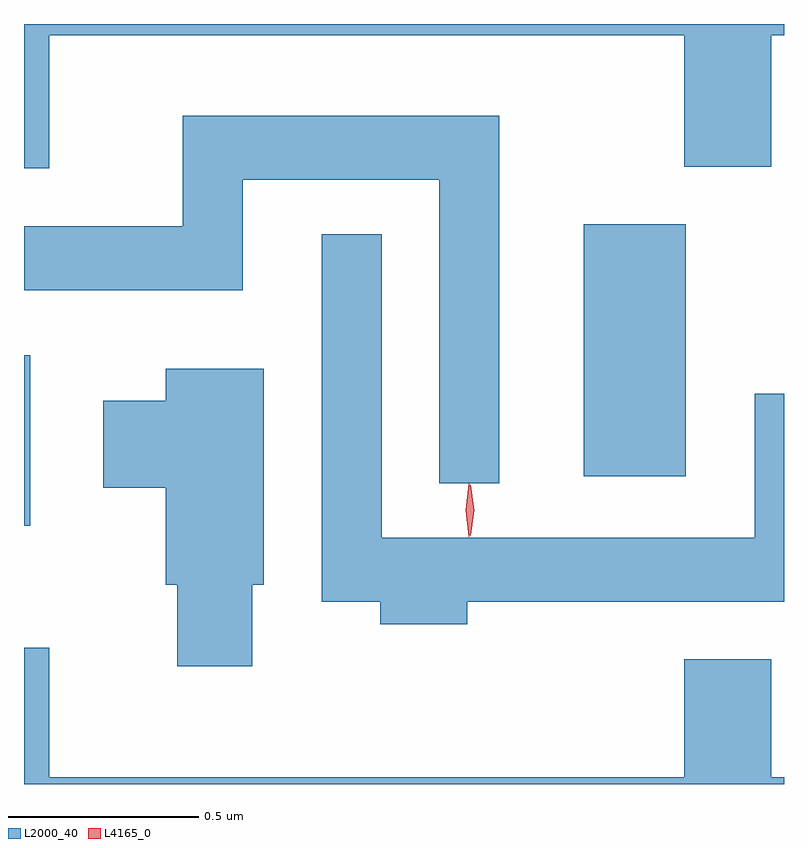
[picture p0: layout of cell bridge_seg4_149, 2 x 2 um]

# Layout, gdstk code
import gdstk
lib = gdstk.Library(unit=1e-6, precision=1e-09)
def R(c, l, rs):  # rectangles x0, y0, x1, y1
    for r in rs: c.add(gdstk.rectangle(r[:2], r[2:], *l))
def P(c, l, *ps):  # polygons
    for p in ps: c.add(gdstk.Polygon(p, *l))
L2000_40 = (2000, 40)
L4165_0 = (4165, 0)

bridge_seg4_149 = lib.new_cell('bridge_seg4_149')
R(bridge_seg4_149, L2000_40, [(876.823,1273.466,876.839,1273.914), (878.296,1273.596,878.564,1274.259)])
P(bridge_seg4_149, L2000_40, [(876.889,1274.756),(878.561,1274.756),(878.561,1274.411),(878.789,1274.411),(878.789,1274.756),(878.823,1274.756),(878.823,1274.786),(876.823,1274.786),(876.823,1274.406),(876.889,1274.406)],
  [(878.074,1274.544),(877.241,1274.544),(877.241,1274.254),(876.823,1274.254),(876.823,1274.086),(877.399,1274.086),(877.399,1274.376),(877.916,1274.376),(877.916,1273.578),(878.074,1273.578)],
  [(877.989,1273.266),(878.823,1273.266),(878.823,1273.813),(878.746,1273.813),(878.746,1273.434),(877.764,1273.434),(877.764,1274.233),(877.606,1274.233),(877.606,1273.266),(877.761,1273.266),(877.761,1273.206),(877.989,1273.206)],
  [(877.424,1273.311),(877.454,1273.311),(877.454,1273.879),(877.196,1273.879),(877.196,1273.794),(877.031,1273.794),(877.031,1273.566),(877.196,1273.566),(877.196,1273.311),(877.226,1273.311),(877.226,1273.096),(877.424,1273.096)],
  [(878.823,1272.804),(878.789,1272.804),(878.789,1273.114),(878.561,1273.114),(878.561,1272.804),(876.889,1272.804),(876.889,1273.144),(876.823,1273.144),(876.823,1272.786),(878.823,1272.786)])
P(bridge_seg4_149, L4165_0, [(877.998,1273.439),(877.997,1273.44),(877.988,1273.506),(877.997,1273.572),(877.998,1273.573),(877.998,1273.572),(878.008,1273.506),(877.998,1273.44)],
  [(877.994,1273.437),(877.985,1273.507),(877.994,1273.576),(877.995,1273.576),(877.995,1273.576),(878.005,1273.507),(877.995,1273.437),(877.995,1273.437)])

lib.write_gds('bridge_seg4_149.gds')
